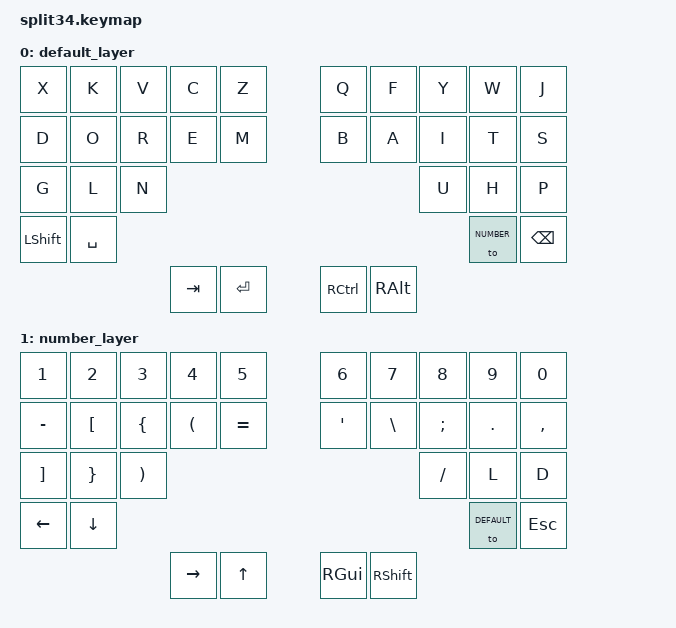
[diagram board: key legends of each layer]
#include <behaviors.dtsi>
#include <dt-bindings/zmk/keys.h>
#include <dt-bindings/zmk/bt.h>

#define DEFAULT 0
#define NUMBER 1

/ {
  combos {
    compatible = "zmk,combos";
    combo_bt {
      timeout-ms = <300>;
      key-positions = <0 10>;
      bindings = <&bt BT_CLR>;
    };

  };
  keymap {
    compatible = "zmk,keymap";

    default_layer {
      bindings = <
	&kp X    &kp K    &kp V    &kp C     &kp Z                                                  &kp Q     &kp F     &kp Y     &kp W     &kp J    
	&kp D    &kp O    &kp R    &kp E     &kp M                                                  &kp B     &kp A     &kp I     &kp T     &kp S 
		 &kp G    &kp L    &kp N          						              &kp U     &kp H     &kp P
		                        		&kp LSHIFT   &kp SPACE 	&to NUMBER  &kp BKSP        
		                        		&kp TAB      &kp ENTER	&kp RCTRL   &kp RALT
	>;
    };

    number_layer {
      bindings = <
	&kp N1    &kp N2   &kp N3   &kp N4   &kp N5                                              &kp N6    &kp N7    &kp N8    &kp N9     &kp N0    
	&kp MINUS &kp LBKT &kp LBRC &kp LPAR &kp EQUAL                                           &kp SQT   &kp BSLH  &kp SEMI  &kp DOT  &kp COMMA 
		  &kp RBKT &kp RBRC &kp RPAR          						           &kp FSLH  &kp L     &kp D
		                        		&kp LEFT   &kp DOWN  &to DEFAULT &kp ESC        
		                        		&kp RIGHT  &kp UP    &kp RGUI    &kp RSHIFT
	>;
    };
  };
};
